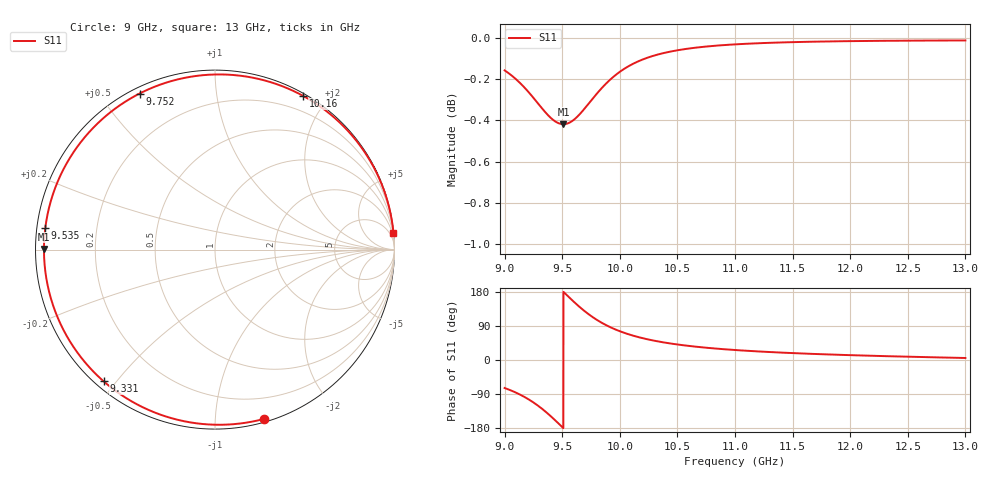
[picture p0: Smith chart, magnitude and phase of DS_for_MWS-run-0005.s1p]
! TOUCHSTONE file generated by CST DESIGN STUDIO
! Date and time: Tue Feb  4 13:56:51 2025
! Project name: C:\Work\MatlabApps\UnitCellOptimizationMatlab\CST\unitcell.cst
! Tree item: Tasks\Sweep1\SPara1\S-Parameters
! Header version: 2024
! Port assignment regex: !\s*Touchstone port\s*([0-9]+)\s*=\s*(CST MWS port|CST DES external port|CST DES block port)\s*(.+)\s* \(\"(.*)\"\)(\s*mode\s*([0-9]+))?.*
! Touchstone port assignment:
! Touchstone port 1 = CST DES external port 1 ("")
# GHz S MA R 50
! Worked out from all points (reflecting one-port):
!   4001 points, 9 GHz to 13 GHz, reference 50 ohm
!   lowest |S11| = -0.4 dB at 9.511 GHz (marker M1), VSWR 41.52, Z = 1.2 + j0.0809 ohm
!   phase of S11 starts at -74 deg and turns -281 deg over the sweep
!   S11 on the Smith chart (normalised r, x): 9 GHz: 0.03, -1.33; 9.331 GHz: 0.02, -0.46; 9.535 GHz: 0.02, +0.06; 9.752 GHz: 0.02, +0.63; 10.16 GHz: 0.03, +1.73; 13 GHz: 0, +22
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9  0.9821 -73.8
9.089  0.9778 -84.8
9.192  0.9714 -100.9
9.265  0.966 -115.1
9.331  0.961 -130.2
9.377  0.9578 -141.9
9.424  0.9551 -154.8
9.463  0.9536 -166.0
9.5  0.953 -176.9
9.511  0.953 179.8
9.535  0.9531 172.7
9.589  0.9547 157.0
9.649  0.9581 140.5
9.7  0.9617 127.6
9.752  0.9657 115.8
9.803  0.9696 105.5
9.86  0.9735 95.4
10  0.9813 75.9
10.079  0.9845 67.6
10.165  0.9872 60.1
10.317  0.9906 49.9
10.5  0.9932 40.9
10.722  0.9951 33.2
11  0.9965 26.3
11.5  0.9977 18.2
12  0.9983 12.8
12.5  0.9986 8.7
13  0.9987 5.3
